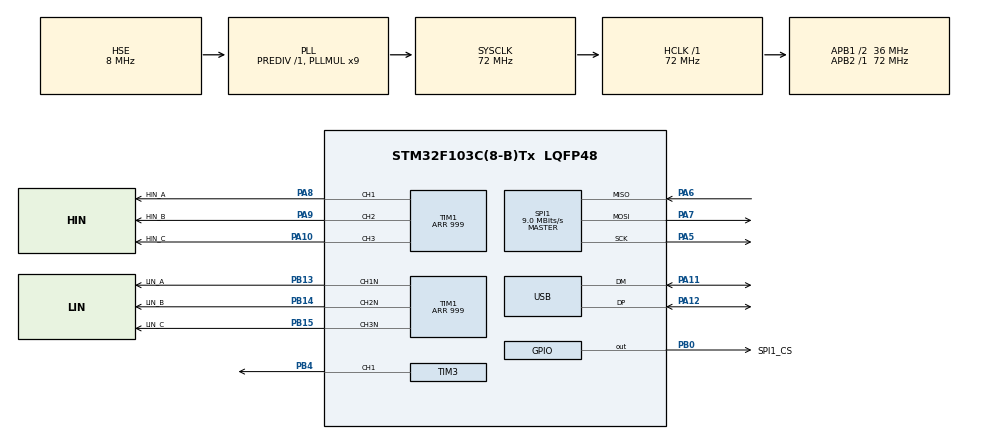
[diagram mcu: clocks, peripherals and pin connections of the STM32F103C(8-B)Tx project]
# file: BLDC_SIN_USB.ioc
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Mcu.Family=STM32F1
Mcu.Name=STM32F103C(8-B)Tx
Mcu.Package=LQFP48
NVIC.PriorityGroup=NVIC_PRIORITYGROUP_4
NVIC.TIM1_UP_IRQn=true\:0\:0\:false\:false\:true\:true
NVIC.TIM3_IRQn=true\:0\:0\:false\:false\:true\:true
NVIC.USB_LP_CAN1_RX0_IRQn=true\:0\:0\:false\:false\:true\:false
PA10.GPIO_Label=HIN_C
PA10.GPIO_Speed=GPIO_SPEED_FREQ_HIGH
PA10.Signal=S_TIM1_CH3
PA11.Mode=Device
PA11.Signal=USB_DM
PA12.Mode=Device
PA12.Signal=USB_DP
PA13.Mode=Serial_Wire
PA13.Signal=SYS_JTMS-SWDIO
PA14.Mode=Serial_Wire
PA14.Signal=SYS_JTCK-SWCLK
PA5.Mode=Full_Duplex_Master
PA5.Signal=SPI1_SCK
PA6.Mode=Full_Duplex_Master
PA6.Signal=SPI1_MISO
PA7.Mode=Full_Duplex_Master
PA7.Signal=SPI1_MOSI
PA8.GPIO_Label=HIN_A
PA8.GPIO_Speed=GPIO_SPEED_FREQ_HIGH
PA8.Signal=S_TIM1_CH1
PA9.GPIO_Label=HIN_B
PA9.GPIO_Speed=GPIO_SPEED_FREQ_HIGH
PA9.Signal=S_TIM1_CH2
PB0.GPIO_Label=SPI1_CS
PB0.Signal=GPIO_Output
PB13.GPIO_Label=LIN_A
PB13.GPIO_Speed=GPIO_SPEED_FREQ_HIGH
PB13.Mode=PWM Generation1 CH1 CH1N
PB13.Signal=TIM1_CH1N
PB14.GPIO_Label=LIN_B
PB14.GPIO_Speed=GPIO_SPEED_FREQ_HIGH
PB14.Mode=PWM Generation2 CH2 CH2N
PB14.Signal=TIM1_CH2N
PB15.GPIO_Label=LIN_C
PB15.GPIO_Speed=GPIO_SPEED_FREQ_HIGH
PB15.Mode=PWM Generation3 CH3 CH3N
PB15.Signal=TIM1_CH3N
PB4.Signal=S_TIM3_CH1
PD0-OSC_IN.Mode=HSE-External-Oscillator
PD0-OSC_IN.Signal=RCC_OSC_IN
PD1-OSC_OUT.Mode=HSE-External-Oscillator
PD1-OSC_OUT.Signal=RCC_OSC_OUT
ProjectManager.HeapSize=0x400
ProjectManager.StackSize=0x600
ProjectManager.TargetToolchain=MDK-ARM V5
RCC.AHBFreq_Value=72000000
RCC.APB1CLKDivider=RCC_HCLK_DIV2
RCC.APB1Freq_Value=36000000
RCC.APB1TimFreq_Value=72000000
RCC.APB2Freq_Value=72000000
RCC.APB2TimFreq_Value=72000000
RCC.HCLKFreq_Value=72000000
RCC.PLLMUL=RCC_PLL_MUL9
RCC.SYSCLKFreq_VALUE=72000000
RCC.SYSCLKSource=RCC_SYSCLKSOURCE_PLLCLK
RCC.USBFreq_Value=48000000
RCC.USBPrescaler=RCC_USBCLKSOURCE_PLL_DIV1_5
SH.S_TIM1_CH1.0=TIM1_CH1,PWM Generation1 CH1 CH1N
SH.S_TIM1_CH2.0=TIM1_CH2,PWM Generation2 CH2 CH2N
SH.S_TIM1_CH3.0=TIM1_CH3,PWM Generation3 CH3 CH3N
SH.S_TIM3_CH1.0=TIM3_CH1,Output Compare1 CH1
SPI1.BaudRatePrescaler=SPI_BAUDRATEPRESCALER_8
SPI1.CLKPhase=SPI_PHASE_2EDGE
SPI1.CalculateBaudRate=9.0 MBits/s
SPI1.DataSize=SPI_DATASIZE_16BIT
SPI1.Direction=SPI_DIRECTION_2LINES
SPI1.Mode=SPI_MODE_MASTER
SPI1.VirtualType=VM_MASTER
TIM1.Channel-PWM\ Generation1\ CH1\ CH1N=TIM_CHANNEL_1
TIM1.Channel-PWM\ Generation2\ CH2\ CH2N=TIM_CHANNEL_2
TIM1.Channel-PWM\ Generation3\ CH3\ CH3N=TIM_CHANNEL_3
TIM1.DeadTime=35
TIM1.Period=999
TIM3.Channel-Output\ Compare1\ CH1=TIM_CHANNEL_1
TIM3.Period=1090
TIM3.Prescaler=50764
USB_DEVICE.CLASS_NAME_FS=CDC
USB_DEVICE.VirtualMode=Cdc
USB_DEVICE.VirtualModeFS=Cdc_FS
VP_TIM1_VS_ClockSourceINT.Mode=Internal
VP_TIM3_VS_ClockSourceINT.Mode=Internal
VP_USB_DEVICE_VS_USB_DEVICE_CDC_FS.Mode=CDC_FS
board=custom

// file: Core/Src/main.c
/**
  ******************************************************************************
  * @file           : main.c
  * @brief          : Main program body
  ******************************************************************************
  * This notice applies to any and all portions of this file
  * that are not between comment pairs USER CODE BEGIN and
  * USER CODE END. Other portions of this file, whether
  * inserted by the user or by software development tools
  * are owned by their respective copyright owners.
  *
  * Copyright (c) 2018 STMicroelectronics International N.V.
  * All rights reserved.
  *
  * Redistribution and use in source and binary forms, with or without
  * modification, are permitted, provided that the following conditions are met:
  *
  * 1. Redistribution of source code must retain the above copyright notice,
  *    this list of conditions and the following disclaimer.
  * 2. Redistributions in binary form must reproduce the above copyright notice,
  *    this list of conditions and the following disclaimer in the documentation
  *    and/or other materials provided with the distribution.
  * 3. Neither the name of STMicroelectronics nor the names of other
  *    contributors to this software may be used to endorse or promote products
  *    derived from this software without specific written permission.
  * 4. This software, including modifications and/or derivative works of this
  *    software, must execute solely and exclusively on microcontroller or
  *    microprocessor devices manufactured by or for STMicroelectronics.
  * 5. Redistribution and use of this software other than as permitted under
  *    this license is void and will automatically terminate your rights under
  *    this license.
  *
  * THIS SOFTWARE IS PROVIDED BY STMICROELECTRONICS AND CONTRIBUTORS "AS IS"
  * AND ANY EXPRESS, IMPLIED OR STATUTORY WARRANTIES, INCLUDING, BUT NOT
  * LIMITED TO, THE IMPLIED WARRANTIES OF MERCHANTABILITY, FITNESS FOR A
  * PARTICULAR PURPOSE AND NON-INFRINGEMENT OF THIRD PARTY INTELLECTUAL PROPERTY
  * RIGHTS ARE DISCLAIMED TO THE FULLEST EXTENT PERMITTED BY LAW. IN NO EVENT
  * SHALL STMICROELECTRONICS OR CONTRIBUTORS BE LIABLE FOR ANY DIRECT, INDIRECT,
  * INCIDENTAL, SPECIAL, EXEMPLARY, OR CONSEQUENTIAL DAMAGES (INCLUDING, BUT NOT
  * LIMITED TO, PROCUREMENT OF SUBSTITUTE GOODS OR SERVICES; LOSS OF USE, DATA,
  * OR PROFITS; OR BUSINESS INTERRUPTION) HOWEVER CAUSED AND ON ANY THEORY OF
  * LIABILITY, WHETHER IN CONTRACT, STRICT LIABILITY, OR TORT (INCLUDING
  * NEGLIGENCE OR OTHERWISE) ARISING IN ANY WAY OUT OF THE USE OF THIS SOFTWARE,
  * EVEN IF ADVISED OF THE POSSIBILITY OF SUCH DAMAGE.
  *
  ******************************************************************************
  */
#include "main.h"
#include "stm32f1xx_hal.h"
#include "spi.h"
#include "tim.h"
#include "usb_device.h"
#include "gpio.h"

/* USER CODE BEGIN Includes */
#include "math.h"
/* USER CODE END Includes */

/* USER CODE BEGIN PV */
/* Private variables ---------------------------------------------------------*/
double angle = 0.0;
double step = 0.0;
uint16_t PWM_MAX = 600;
//SPI variables
uint8_t Tx[2];
uint8_t Rx[2];
/* USER CODE END PV */

void SystemClock_Config(void);

/* USER CODE BEGIN PFP */
/* Private function prototypes -----------------------------------------------*/

/* USER CODE END PFP */

int main(void)
{

  /* MCU Configuration----------------------------------------------------------*/

  /* Reset of all peripherals, Initializes the Flash interface and the Systick. */
  HAL_Init();

  /* Configure the system clock */
  SystemClock_Config();

  /* Initialize all configured peripherals */
  MX_GPIO_Init();
  MX_TIM1_Init();
  MX_USB_DEVICE_Init();
  MX_SPI1_Init();
  MX_TIM3_Init();
  /* USER CODE BEGIN 2 */
	HAL_TIM_PWM_Start(&htim1, TIM_CHANNEL_1);
	HAL_TIMEx_PWMN_Start(&htim1, TIM_CHANNEL_1);
	HAL_TIM_PWM_Start(&htim1, TIM_CHANNEL_2);
	HAL_TIMEx_PWMN_Start(&htim1, TIM_CHANNEL_2);
	HAL_TIM_PWM_Start(&htim1, TIM_CHANNEL_3);
	HAL_TIMEx_PWMN_Start(&htim1, TIM_CHANNEL_3);
	//Interrupt for angle increment
	HAL_TIM_Base_Start_IT(&htim1);
	//Interrupt for SRI talking every ~750ms
	HAL_TIM_Base_Start_IT(&htim3);
	// Initialization SPI variables. 0x3FFF - command for getting the angle
	*((uint16_t *) Tx) = 0x3FFF;
	*((uint16_t *) Rx) = 0x00;
  /* USER CODE END 2 */

  /* Infinite loop */
  while (1)
  {

  /* USER CODE BEGIN 3 */
		TIM1->CCR1 = (PWM_MAX/2 + (PWM_MAX*sin(angle))/2);
  	TIM1->CCR2 = (PWM_MAX/2 + (PWM_MAX*sin(angle - 2*3.14/3))/2);
  	TIM1->CCR3 = (PWM_MAX/2 + (PWM_MAX*sin(angle + 2*3.14/3))/2);
  }
  /* USER CODE END 3 */

}

void SystemClock_Config(void)
{

  RCC_OscInitTypeDef RCC_OscInitStruct;
  RCC_ClkInitTypeDef RCC_ClkInitStruct;
  RCC_PeriphCLKInitTypeDef PeriphClkInit;

    /**Initializes the CPU, AHB and APB busses clocks
    */
  RCC_OscInitStruct.OscillatorType = RCC_OSCILLATORTYPE_HSE;
  RCC_OscInitStruct.HSEState = RCC_HSE_ON;
  RCC_OscInitStruct.HSEPredivValue = RCC_HSE_PREDIV_DIV1;
  RCC_OscInitStruct.HSIState = RCC_HSI_ON;
  RCC_OscInitStruct.PLL.PLLState = RCC_PLL_ON;
  RCC_OscInitStruct.PLL.PLLSource = RCC_PLLSOURCE_HSE;
  RCC_OscInitStruct.PLL.PLLMUL = RCC_PLL_MUL9;
  if (HAL_RCC_OscConfig(&RCC_OscInitStruct) != HAL_OK)
  {
    _Error_Handler(__FILE__, __LINE__);
  }

    /**Initializes the CPU, AHB and APB busses clocks
    */
  RCC_ClkInitStruct.ClockType = RCC_CLOCKTYPE_HCLK|RCC_CLOCKTYPE_SYSCLK
                              |RCC_CLOCKTYPE_PCLK1|RCC_CLOCKTYPE_PCLK2;
  RCC_ClkInitStruct.SYSCLKSource = RCC_SYSCLKSOURCE_PLLCLK;
  RCC_ClkInitStruct.AHBCLKDivider = RCC_SYSCLK_DIV1;
  RCC_ClkInitStruct.APB1CLKDivider = RCC_HCLK_DIV2;
  RCC_ClkInitStruct.APB2CLKDivider = RCC_HCLK_DIV1;

  if (HAL_RCC_ClockConfig(&RCC_ClkInitStruct, FLASH_LATENCY_2) != HAL_OK)
  {
    _Error_Handler(__FILE__, __LINE__);
  }

  PeriphClkInit.PeriphClockSelection = RCC_PERIPHCLK_USB;
  PeriphClkInit.UsbClockSelection = RCC_USBCLKSOURCE_PLL_DIV1_5;
  if (HAL_RCCEx_PeriphCLKConfig(&PeriphClkInit) != HAL_OK)
  {
    _Error_Handler(__FILE__, __LINE__);
  }

    /**Configure the Systick interrupt time
    */
  HAL_SYSTICK_Config(HAL_RCC_GetHCLKFreq()/1000);

    /**Configure the Systick
    */
  HAL_SYSTICK_CLKSourceConfig(SYSTICK_CLKSOURCE_HCLK);

  /* SysTick_IRQn interrupt configuration */
  HAL_NVIC_SetPriority(SysTick_IRQn, 0, 0);
}

void _Error_Handler(char *file, int line)
{
  while(1)
  {
  }
}

/************************ (C) COPYRIGHT STMicroelectronics *****END OF FILE****/
